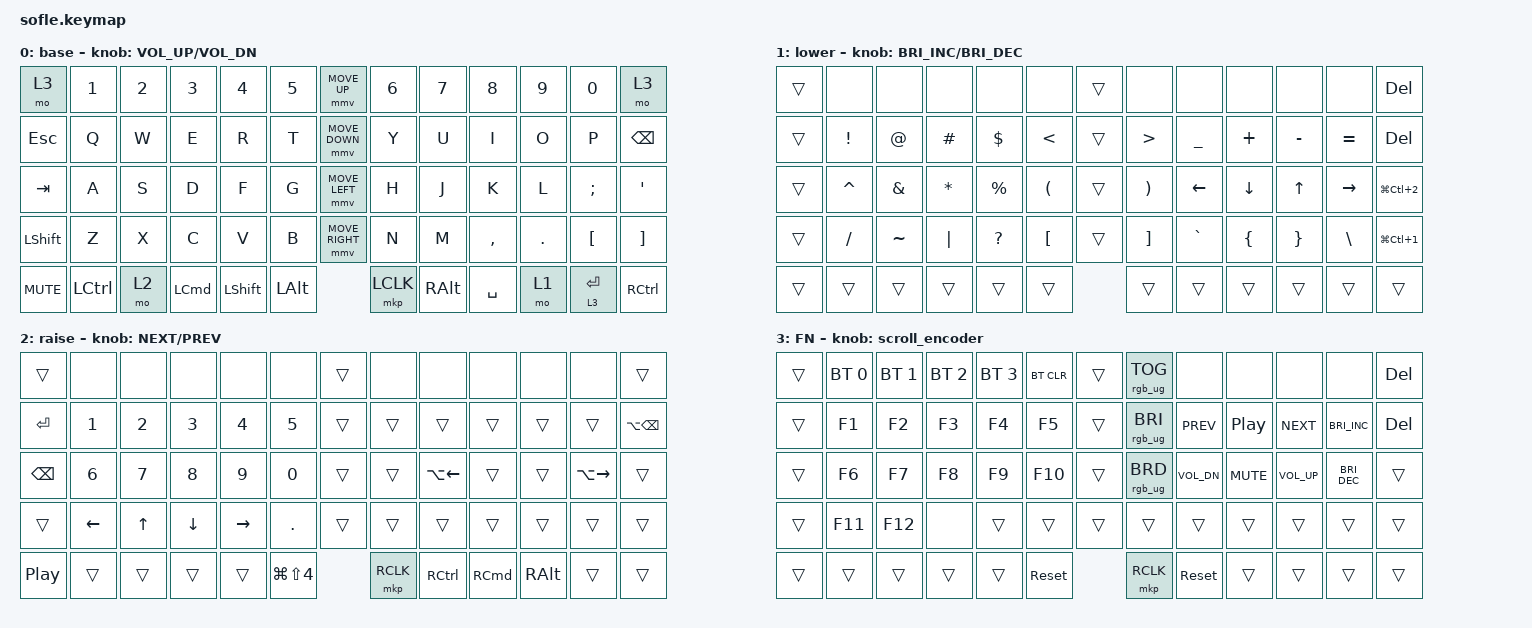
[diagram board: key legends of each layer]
#include <behaviors/mouse_keys.dtsi>
#include <behaviors.dtsi>
#include <dt-bindings/zmk/bt.h>
#include <dt-bindings/zmk/keys.h>
#include <dt-bindings/zmk/mouse.h>
#include <dt-bindings/zmk/outputs.h>
#include <dt-bindings/zmk/rgb.h>

#define ZMK_MOUSE_DEFAULT_MOVE_VAL 1200  // 600
#define ZMK_MOUSE_DEFAULT_SCRL_VAL 20    // 10
#define U_MS_U &mmv MOVE_UP
#define U_MS_D &mmv MOVE_DOWN
#define U_MS_L &mmv MOVE_LEFT
#define U_MS_R &mmv MOVE_RIGHT

#define LANG_SW LA(SPACE)
#define LANG_1 LG(LC(N1))
#define LANG_2 LG(LC(N2))
#define LANG_3 LG(LC(N3))
#define SCREEN LG(LS(N4))
#define BT_0 BT_SEL 0
#define BT_1 BT_SEL 1
#define BT_2 BT_SEL 2
#define BT_3 BT_SEL 3

/ {
    behaviors {
        mmv {
            acceleration-exponent = <1>;      // 1
            time-to-max-speed-ms = <900>;     // 40
            delay-ms = <0>;                   // 0
        };

        msc {
            acceleration-exponent = <1>;      // 0
            time-to-max-speed-ms = <400>;     // 500
            delay-ms = <0>;                   // 10
        };

        shrave: shift_grave {
            compatible = "zmk,behavior-mod-morph";
            #binding-cells = <0>;
            bindings = <&kp LSHFT>, <&kp GRAVE>;
            mods = <(MOD_LGUI)>;
        };
    };
    // this turns off the &lt behaviour
    // conditional_layers {
    //     compatible = "zmk,conditional-layers";
    //     tri_layer {
    //         if-layers = <1 2>;
    //         then-layer = <3>;
    //     };
    // };

    scroll_encoder: scroll_encoder {
        compatible = "zmk,behavior-sensor-rotate";
        #sensor-binding-cells = <0>;
        bindings = <&msc SCRL_UP>, <&msc SCRL_DOWN>;

        tap-ms = <30>;
    };

    keymap {
        compatible = "zmk,keymap";

        layer0 {
            bindings = <
&mo 3      &kp N1     &kp N2         &kp N3     &kp N4     &kp N5                      &mmv MOVE_UP                &kp N6     &kp N7       &kp N8      &kp N9           &kp N0      &mo 3
&kp ESC    &kp Q      &kp W          &kp E      &kp R      &kp T                       &mmv MOVE_DOWN              &kp Y      &kp U        &kp I       &kp O            &kp P       &kp BSPC
&kp TAB    &kp A      &kp S          &kp D      &kp F      &kp G                       &mmv MOVE_LEFT              &kp H      &kp J        &kp K       &kp L            &kp SEMI    &kp APOS
&kp LSHFT  &kp Z      &kp X          &kp C      &kp V      &kp B                       &mmv MOVE_RIGHT             &kp N      &kp M        &kp COMMA   &kp DOT          &kp LBKT    &kp RBKT
&kp C_MUTE            &kp LCTRL      &mo 2      &kp LCMD   &kp LSHFT   &kp LALT        &mkp LCLK       &kp RALT    &kp SPACE   &mo 1      &lt 3 ENTER  &kp RCTRL
            >;

            sensor-bindings = <&inc_dec_kp C_VOL_UP C_VOL_DN>;
            display-name = "base";
        };

        layer_1 {
            bindings = <
&trans   &none      &none      &none      &none      &none             &trans              &none       &none      &none        &none       &none       &kp DEL
&trans   &kp EXCL   &kp AT     &kp HASH   &kp DLLR   &kp LT            &trans              &kp GT      &kp UNDER  &kp PLUS     &kp MINUS   &kp EQUAL   &kp DEL 
&trans   &kp CARET  &kp AMPS   &kp STAR   &kp PRCNT  &kp LPAR          &trans              &kp RPAR    &kp LEFT   &kp DOWN     &kp UP      &kp RIGHT   &kp LANG_2
&trans   &kp SLASH  &kp TILDE  &kp PIPE   &kp QMARK  &kp LBKT          &trans              &kp RBKT    &kp GRAVE  &kp LBRC     &kp RBRC    &kp BSLH    &kp LANG_1
&trans              &trans     &trans     &trans     &trans   &trans   &trans    &trans    &trans      &trans     &trans       &trans
            >;

            display-name = "lower";
            sensor-bindings = <&inc_dec_kp C_BRIGHTNESS_INC C_BRIGHTNESS_DEC>;
        };

        layer_2 {
            bindings = <
&trans     &none       &none       &none      &none        &none                &trans                 &none        &none        &none    &none    &none          &trans
&kp ENTER  &kp N1      &kp N2      &kp N3     &kp N4       &kp N5               &trans                 &trans       &trans       &trans   &trans   &trans         &kp LA(BSPC)
&kp BSPC   &kp N6      &kp N7      &kp N8     &kp N9       &kp N0               &trans                 &trans       &kp LA(LEFT) &trans   &trans   &kp LA(RIGHT)  &trans
&trans     &kp LEFT    &kp UP      &kp DOWN   &kp RIGHT    &kp DOT              &trans                 &trans       &trans       &trans   &trans   &trans         &trans
&kp C_PP               &trans      &trans     &trans       &trans  &kp SCREEN   &mkp RCLK   &kp RCTRL  &kp RCMD     &kp RALT     &trans   &trans
            >;

            display-name = "raise";
            sensor-bindings = <&inc_dec_kp C_NEXT C_PREV>;
        };

        layer_3 {
            bindings = <
&trans      &bt BT_0   &bt BT_1   &bt BT_2    &bt BT_3     &bt BT_CLR              &trans                   &rgb_ug RGB_TOG  &none         &none       &none         &none          &kp DEL
&trans      &kp F1     &kp F2     &kp F3      &kp F4       &kp F5                  &trans                   &rgb_ug RGB_BRI  &kp C_PREV    &kp C_PP    &kp C_NEXT    &kp C_BRI_INC  &kp DEL
&trans      &kp F6     &kp F7     &kp F8      &kp F9       &kp F10                 &trans                   &rgb_ug RGB_BRD  &kp C_VOL_DN  &kp C_MUTE  &kp C_VOL_UP  &kp C_BRI_DEC  &trans
&trans      &kp F11    &kp F12    &none       &trans       &trans                  &trans                   &trans           &trans        &trans      &trans        &trans         &trans
&trans                 &trans     &trans      &trans       &trans     &sys_reset   &mkp RCLK   &sys_reset   &trans           &trans        &trans      &trans
            >;

            display-name = "FN";
            sensor-bindings = <&scroll_encoder>;
        };       
  
    };
};
